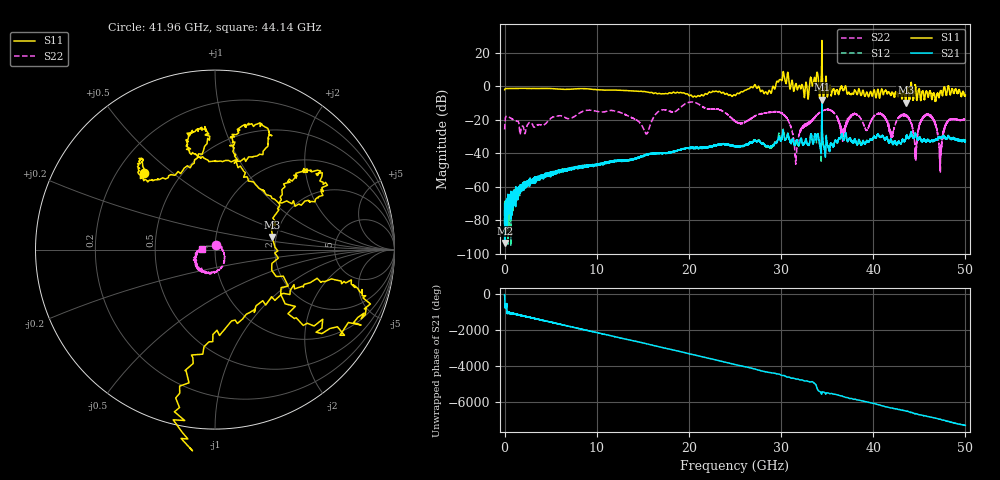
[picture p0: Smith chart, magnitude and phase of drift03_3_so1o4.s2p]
!Created with skrf (http://scikit-rf.org).
# Hz S RI R 50.0
!freq ReS11 ImS11 ReS21 ImS21 ReS12 ImS12 ReS22 ImS22
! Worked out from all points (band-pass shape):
!   10000 points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, 5.3 MHz to 50 GHz, reference 50 ohm
!   highest |S21| = -8.00 dB at 34.43 GHz (marker M1); lowest = -93.6 dB at 30.3 MHz (marker M2)
!   |S21| within 3 dB of the highest: 34.4268 GHz to 34.43506 GHz (8.26 MHz wide, 0.024 % of centre)
!   lowest |S11| = -9.8 dB at 43.52 GHz (marker M3), VSWR 1.96, Z = 94.6 + j14.9 ohm
!   |S11| at or under -10 dB: nowhere
!   |S22| runs from -51.2 to -9.4 dB; largest |S21 - S12| = 0.12
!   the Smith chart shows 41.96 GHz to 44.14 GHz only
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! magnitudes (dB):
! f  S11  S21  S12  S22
! 5.3 MHz  -2.1  -70.1  -73.9  -25.9
! 30.3 MHz  -1.8  -93.6  -79.3  -22.5
! 2.34 GHz  -1.4  -57.9  -59.5  -25.5
! 8.34 GHz  -1.5  -48.3  -48.1  -15.4
! 15.38 GHz  -3.5  -41.0  -40.9  -28.5
! 16.67 GHz  -4.4  -40.1  -40.1  -15.3
! 20.45 GHz  -6.5  -36.9  -36.8  -9.5
! 25.01 GHz  -5.5  -35.8  -35.8  -21.0
! 29.96 GHz  3.9  -32.6  -32.3  -16.0
! 31.61 GHz  1.5  -33.6  -33.7  -45.4
! 33.34 GHz  2.4  -30.2  -30.4  -20.4
! 34.43 GHz  27.3  -8.0  -10.0  -14.7
! 36.69 GHz  -2.2  -30.2  -30.1  -29.4
! 37.95 GHz  -2.7  -32.0  -31.8  -16.5
! 41.67 GHz  -3.5  -33.5  -33.4  -23.6
! 43.52 GHz  -9.8  -31.3  -31.3  -17.7
! 44.6 GHz  -0.9  -29.0  -29.0  -40.8
! 45.27 GHz  -4.3  -33.2  -33.0  -19.9
! 46.22 GHz  -3.8  -33.0  -33.0  -17.6
! 47.29 GHz  -3.3  -30.7  -30.9  -51.2
! 48.12 GHz  -0.1  -30.1  -30.2  -20.8
! 50 GHz  -5.5  -32.7  -32.4  -19.5
